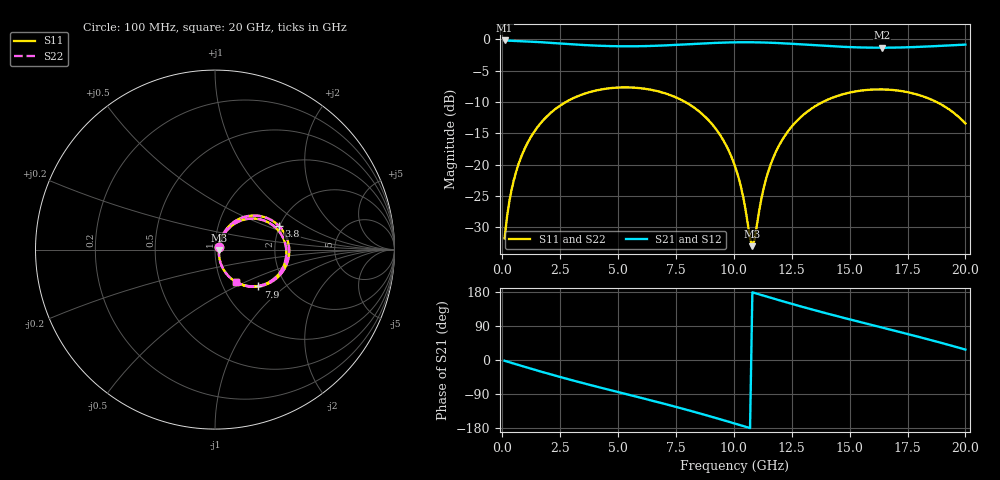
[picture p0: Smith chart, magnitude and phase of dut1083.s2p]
! Touchstone file exported from HFSS 2026.1.0
!  File:  C:/ffzhzh/LocalFiles/Ansys_Project_Files/temp_train_TSV_RDL_1083_1783300902_5512.aedt
!  Generated:  09:34:01 AM Jul  6, 2026
!  Design:  TSV_RDL
!  Project:  temp_train_TSV_RDL_1083_1783300902_5512
! Variables:
!  h_bsmrdl = 4.95um
!  h_ox = 20um
!  h_rdl = 5um
!  h_sub = 74.29um
!  h_tmrdl = 3.39um
!  h_tsv = 74.29um
!  h_via = 3um
!  l_bsmrdl = 511.07um
!  l_sub = 5773.95um
!  l_tmrdl = 923.45um
!  m_sub = 200um
!  pitch = 45.77um
!  r_tsv = 9.74um
!  s_tmrdl = 10um
!  w_bsmrdl = 19.19um
!  w_sub = 500um
!  w_tmrdl = 29.79um
!  x_tsv_center1 = 938.345um
!  x_tsv_center2 = 1468.605um
!  x_tsv_center3 = 2421.845um
!  x_tsv_center4 = 2952.105um
!  x_tsv_center5 = 3905.345um
!  x_tsv_center6 = 4435.605um
# GHz S MA R 50.000000
! Terminal data exported
! Port[1] = TM_RDL1_1_T1
! Port[2] = TM_RDL5_1_T1
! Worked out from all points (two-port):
!   200 points, 100 MHz to 20 GHz, reference 50 ohm
!   highest |S21| = -0.18 dB at 100 MHz (marker M1); lowest = -1.3 dB at 16.4 GHz (marker M2)
!   |S21| within 3 dB of the highest: start of sweep to end of sweep
!   lowest |S11| = -33.0 dB at 10.8 GHz (marker M3), VSWR 1.05, Z = 52.3 - j0.207 ohm
!   |S11| at or under -10 dB: start of sweep to 2.747 GHz; 7.901 GHz to 13.84 GHz (5.939 GHz wide, 54.6 % of centre); 18.75 GHz to end of sweep
!   |S22| runs from -33.1 to -7.7 dB; largest |S21 - S12| = 1.6e-14
!   S11 on the Smith chart (normalised r, x): 100 MHz: 1.04, +0.03; 3.8 GHz: 1.99, +0.61; 7.9 GHz: 1.45, -0.66; 20 GHz: 1.17, -0.44
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0.1  0.02578 36.4  0.9797 -2.0  0.9797 -2.0  0.02578 36.4
! Gamma 0 0 0 0
! Port Impedance 50 0 50 0
0.3  0.05035 56.9  0.9759 -5.8  0.9759 -5.8  0.05035 56.9
0.5  0.07556 61.3  0.9727 -9.5  0.9727 -9.5  0.07557 61.3
1.1  0.1502 59.3  0.9619 -20.4  0.9619 -20.4  0.1502 59.3
2.1  0.2599 45.8  0.9374 -38.1  0.9374 -38.1  0.2599 45.8
3.5  0.3656 24.6  0.9014 -61.2  0.9014 -61.2  0.3656 24.6
3.8  0.3804 20.1  0.8953 -66.0  0.8953 -66.0  0.3804 20.1
5.3  0.4137 -1.9  0.8797 -89.2  0.8797 -89.2  0.4137 -2.0
6.8  0.3816 -24.0  0.8907 -112.5  0.8907 -112.5  0.3816 -24.0
7.9  0.3163 -40.5  0.9111 -130.3  0.9111 -130.3  0.3163 -40.5
9.2  0.1954 -59.5  0.9367 -152.6  0.9367 -152.6  0.1954 -59.6
10.1  0.09119 -67.5  0.947 -168.7  0.947 -168.7  0.09115 -67.7
10.8  0.02236 -5.1  0.9474 178.6  0.9474 178.6  0.02213 -5.1
11.3  0.06621 57.4  0.9434 169.5  0.9434 169.5  0.06612 57.6
11.7  0.1131 58.8  0.9377 162.3  0.9377 162.3  0.1131 58.9
12.4  0.191 51.6  0.9239 149.9  0.9239 149.9  0.191 51.6
13.4  0.2838 37.4  0.8998 132.9  0.8998 132.9  0.2838 37.4
14.8  0.3683 16.9  0.8702 110.4  0.8702 110.4  0.3683 17.0
16.4  0.3984 -6.0  0.8573 85.7  0.8573 85.7  0.3984 -5.9
16.7  0.3964 -10.3  0.8579 81.1  0.8579 81.1  0.3964 -10.2
18.4  0.3384 -34.7  0.8774 54.4  0.8774 54.4  0.3384 -34.6
20  0.2132 -57.2  0.9076 27.5  0.9076 27.5  0.2134 -56.8
